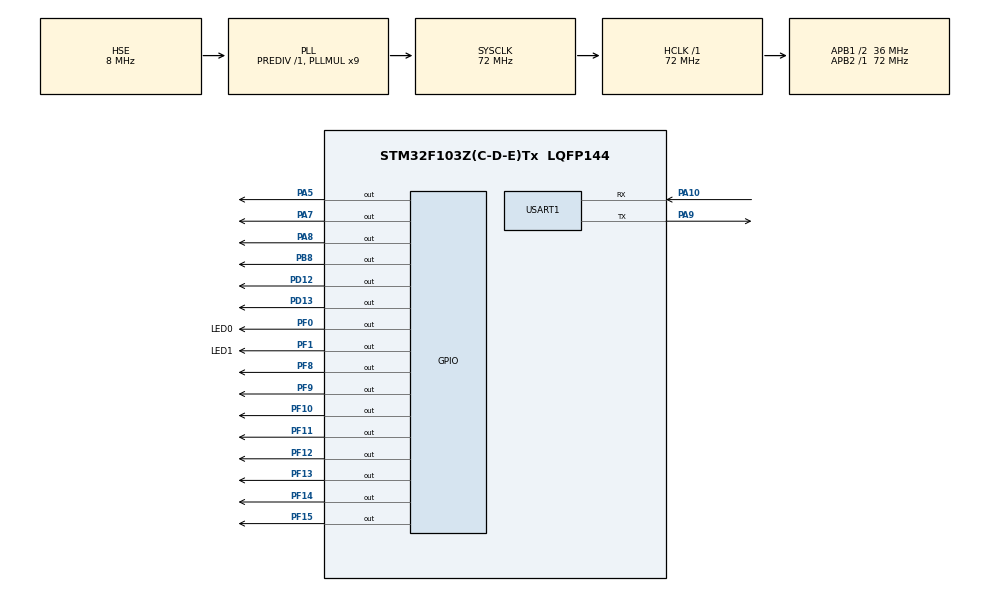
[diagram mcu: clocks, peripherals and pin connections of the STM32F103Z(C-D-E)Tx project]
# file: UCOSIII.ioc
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Mcu.Family=STM32F1
Mcu.Name=STM32F103Z(C-D-E)Tx
Mcu.Package=LQFP144
NVIC.PriorityGroup=NVIC_PRIORITYGROUP_4
NVIC.TIM1_UP_IRQn=true\:0\:0\:false\:false\:true\:false\:true\:true
NVIC.TimeBase=TIM1_UP_IRQn
NVIC.TimeBaseIP=TIM1
OSC_IN.Mode=HSE-External-Oscillator
OSC_IN.Signal=RCC_OSC_IN
OSC_OUT.Mode=HSE-External-Oscillator
OSC_OUT.Signal=RCC_OSC_OUT
PA10.Mode=Asynchronous
PA10.Signal=USART1_RX
PA13.Mode=Serial_Wire
PA13.Signal=SYS_JTMS-SWDIO
PA14.Mode=Serial_Wire
PA14.Signal=SYS_JTCK-SWCLK
PA5.Signal=GPIO_Output
PA7.Signal=GPIO_Output
PA8.Signal=GPIO_Output
PA9.Mode=Asynchronous
PA9.Signal=USART1_TX
PB8.Signal=GPIO_Output
PD12.Signal=GPIO_Output
PD13.Signal=GPIO_Output
PF0.GPIO_Label=LED0
PF0.Signal=GPIO_Output
PF1.GPIO_Label=LED1
PF1.Signal=GPIO_Output
PF10.PinState=GPIO_PIN_SET
PF10.Signal=GPIO_Output
PF11.PinState=GPIO_PIN_SET
PF11.Signal=GPIO_Output
PF12.PinState=GPIO_PIN_SET
PF12.Signal=GPIO_Output
PF13.PinState=GPIO_PIN_SET
PF13.Signal=GPIO_Output
PF14.PinState=GPIO_PIN_SET
PF14.Signal=GPIO_Output
PF15.PinState=GPIO_PIN_SET
PF15.Signal=GPIO_Output
PF8.PinState=GPIO_PIN_SET
PF8.Signal=GPIO_Output
PF9.PinState=GPIO_PIN_SET
PF9.Signal=GPIO_Output
ProjectManager.HeapSize=0x200
ProjectManager.StackSize=0x400
ProjectManager.TargetToolchain=MDK-ARM V5.27
RCC.AHBFreq_Value=72000000
RCC.APB1CLKDivider=RCC_HCLK_DIV2
RCC.APB1Freq_Value=36000000
RCC.APB1TimFreq_Value=72000000
RCC.APB2Freq_Value=72000000
RCC.APB2TimFreq_Value=72000000
RCC.HCLKFreq_Value=72000000
RCC.PLLMUL=RCC_PLL_MUL9
RCC.PLLSourceVirtual=RCC_PLLSOURCE_HSE
RCC.SYSCLKFreq_VALUE=72000000
RCC.SYSCLKSource=RCC_SYSCLKSOURCE_PLLCLK
RCC.USBFreq_Value=72000000
USART1.VirtualMode=VM_ASYNC
VP_SYS_VS_tim1.Mode=TIM1
board=custom

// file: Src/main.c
/* USER CODE BEGIN Header */
/**
  ******************************************************************************
  * @file           : main.c
  * @brief          : Main program body
  ******************************************************************************
  * @attention
  *
  * <h2><center>&copy; Copyright (c) 2021 STMicroelectronics.
  * All rights reserved.</center></h2>
  *
  * This software component is licensed by ST under BSD 3-Clause license,
  * the "License"; You may not use this file except in compliance with the
  * License. You may obtain a copy of the License at:
  *                        opensource.org/licenses/BSD-3-Clause
  *
  ******************************************************************************
  */
/* USER CODE END Header */

#include "main.h"
#include "usart.h"
#include "gpio.h"

/* USER CODE BEGIN Includes */
#include <includes.h>
/* USER CODE END Includes */

/* USER CODE BEGIN PTD */
/* UCOSIII中以下优先级用户程序不能使用:
 * 将这些优先级分配给了UCOSIII的5个系统内部任务
 * 优先级0：中断服务服务管理任务 OS_IntQTask()
 * 优先级1：时钟节拍任务 OS_TickTask()
 * 优先级2：定时任务 OS_TmrTask()
 * 优先级OS_CFG_PRIO_MAX-2：统计任务 OS_StatTask()
 * 优先级OS_CFG_PRIO_MAX-1：空闲任务 OS_IdleTask()
 */

/* 任务优先级 */
#define START_TASK_PRIO		3
#define LED0_TASK_PRIO		4
#define LED1_TASK_PRIO		5
#define PRINT_TASK_PRIO    6
#define LED_TASK_PRIO     7
#define Buzzer_TASK_PRIO     8
#define Motor_TASK_PRIO     8

/* 任务堆栈大小	*/
#define START_STK_SIZE 		512
#define LED0_STK_SIZE 		128
#define LED1_STK_SIZE 		128
#define PRINT_STK_SIZE      128
#define LED_STK_SIZE      128
#define Buzzer_STK_SIZE      128
#define Motor_STK_SIZE      128

/* 任务控制块 */
OS_TCB StartTaskTCB;
OS_TCB Led0TaskTCB;
OS_TCB Led1TaskTCB;
OS_TCB PrintTaskTCB;
OS_TCB LedplayTCB;
OS_TCB BuzzerTCB;
OS_TCB MotorTCB;

/* 任务堆栈 */
CPU_STK START_TASK_STK[START_STK_SIZE];
CPU_STK LED0_TASK_STK[LED0_STK_SIZE];
CPU_STK LED1_TASK_STK[LED1_STK_SIZE];
CPU_STK PRINT_TASK_STK[PRINT_STK_SIZE];
CPU_STK LED_TASK_STK[LED_STK_SIZE];
CPU_STK Buzzer_TASK_STK[LED_STK_SIZE];
CPU_STK Motor_TASK_STK[LED_STK_SIZE];

/* 任务函数定义 */
void start_task(void *p_arg);
void led0_task(void *p_arg);
void led1_task(void *p_arg);
void print_task(void *p_arg);
void led_play(void *p_arg);
void Buzzer(void *p_arg);
void Motor(void *p_arg);

/* USER CODE END PTD */

void SystemClock_Config(void);

int main(void)
{
  /* USER CODE BEGIN 1 */
    OS_ERR err;
	CPU_SR_ALLOC();
  /* USER CODE END 1 */

  /* MCU Configuration--------------------------------------------------------*/

  /* Reset of all peripherals, Initializes the Flash interface and the Systick. */
  HAL_Init();

  /* Configure the system clock */
  SystemClock_Config();

  /* Initialize all configured peripherals */
  MX_GPIO_Init();
  MX_USART1_UART_Init();
  /* USER CODE BEGIN 2 */
	OSInit(&err);		//初始化UCOSIII
    OS_CRITICAL_ENTER();//进入临界区
    //创建开始任务
    OSTaskCreate((OS_TCB 	* )&StartTaskTCB,			//任务控制块
                 (CPU_CHAR* )"start task", 				//任务名字
                 (OS_TASK_PTR)start_task, 				//任务函数
                 (void		* )0,						//传递给任务函数的参数
                 (OS_PRIO	  )START_TASK_PRIO,     //任务优先级
                 (CPU_STK * )&START_TASK_STK[0],	//任务堆栈基地址
                 (CPU_STK_SIZE)START_STK_SIZE/10,	//任务堆栈深度限位
                 (CPU_STK_SIZE)START_STK_SIZE,		//任务堆栈大小
                 (OS_MSG_QTY)0,						//任务内部消息队列能够接收的最大消息数目,为0时禁止接收消息
                 (OS_TICK	  )0,						//当使能时间片轮转时的时间片长度，为0时为默认长度，
                 (void   	* )0,						//用户补充的存储区
                 (OS_OPT    )OS_OPT_TASK_STK_CHK|OS_OPT_TASK_STK_CLR, //任务选项
                 (OS_ERR 	* )&err);				//存放该函数错误时的返回值
    OS_CRITICAL_EXIT();	//退出临界区

    OSStart(&err); //启动多任务系统，控制权交给uC/OS-III

  /* USER CODE END 2 */

  /* Infinite loop */
  while (1)
  {

  }
}

void SystemClock_Config(void)
{
  RCC_OscInitTypeDef RCC_OscInitStruct = {0};
  RCC_ClkInitTypeDef RCC_ClkInitStruct = {0};

  /** Initializes the CPU, AHB and APB busses clocks
  */
  RCC_OscInitStruct.OscillatorType = RCC_OSCILLATORTYPE_HSE;
  RCC_OscInitStruct.HSEState = RCC_HSE_ON;
  RCC_OscInitStruct.HSEPredivValue = RCC_HSE_PREDIV_DIV1;
  RCC_OscInitStruct.HSIState = RCC_HSI_ON;
  RCC_OscInitStruct.PLL.PLLState = RCC_PLL_ON;
  RCC_OscInitStruct.PLL.PLLSource = RCC_PLLSOURCE_HSE;
  RCC_OscInitStruct.PLL.PLLMUL = RCC_PLL_MUL9;
  if (HAL_RCC_OscConfig(&RCC_OscInitStruct) != HAL_OK)
  {
    Error_Handler();
  }
  /** Initializes the CPU, AHB and APB busses clocks
  */
  RCC_ClkInitStruct.ClockType = RCC_CLOCKTYPE_HCLK|RCC_CLOCKTYPE_SYSCLK
                              |RCC_CLOCKTYPE_PCLK1|RCC_CLOCKTYPE_PCLK2;
  RCC_ClkInitStruct.SYSCLKSource = RCC_SYSCLKSOURCE_PLLCLK;
  RCC_ClkInitStruct.AHBCLKDivider = RCC_SYSCLK_DIV1;
  RCC_ClkInitStruct.APB1CLKDivider = RCC_HCLK_DIV2;
  RCC_ClkInitStruct.APB2CLKDivider = RCC_HCLK_DIV1;

  if (HAL_RCC_ClockConfig(&RCC_ClkInitStruct, FLASH_LATENCY_2) != HAL_OK)
  {
    Error_Handler();
  }
}

/* USER CODE BEGIN 4 */
//开始任务函数
void start_task(void *p_arg)
{
	OS_ERR err;
	CPU_SR_ALLOC();
	p_arg = p_arg;

	BSP_Init();                                                   /* Initialize BSP functions */
    //CPU_Init();
    //Mem_Init();                                                 /* Initialize Memory Management Module */

#if OS_CFG_STAT_TASK_EN > 0u
   OSStatTaskCPUUsageInit(&err);  		//统计任务
#endif

#ifdef CPU_CFG_INT_DIS_MEAS_EN			//如果使能了测量中断关闭时间
    CPU_IntDisMeasMaxCurReset();
#endif

#if	OS_CFG_SCHED_ROUND_ROBIN_EN  		//当使用时间片轮转的时候
	 //使能时间片轮转调度功能,时间片长度为1个系统时钟节拍，既1*5=5ms
	OSSchedRoundRobinCfg(DEF_ENABLED,1,&err);
#endif

	OS_CRITICAL_ENTER();	//进入临界区
	/* 创建LED0任务 */
	OSTaskCreate((OS_TCB 	* )&Led0TaskTCB,
				 (CPU_CHAR	* )"led0 task",
                 (OS_TASK_PTR )led0_task,
                 (void		* )0,
                 (OS_PRIO	  )LED0_TASK_PRIO,
                 (CPU_STK   * )&LED0_TASK_STK[0],
                 (CPU_STK_SIZE)LED0_STK_SIZE/10,
                 (CPU_STK_SIZE)LED0_STK_SIZE,
                 (OS_MSG_QTY  )0,
                 (OS_TICK	  )0,
                 (void   	* )0,
                 (OS_OPT      )OS_OPT_TASK_STK_CHK|OS_OPT_TASK_STK_CLR,
                 (OS_ERR 	* )&err);

	/* 创建LED1任务 */
	OSTaskCreate((OS_TCB 	* )&Led1TaskTCB,
				 (CPU_CHAR	* )"led1 task",
                 (OS_TASK_PTR )led1_task,
                 (void		* )0,
                 (OS_PRIO	  )LED1_TASK_PRIO,
                 (CPU_STK   * )&LED1_TASK_STK[0],
                 (CPU_STK_SIZE)LED1_STK_SIZE/10,
                 (CPU_STK_SIZE)LED1_STK_SIZE,
                 (OS_MSG_QTY  )0,
                 (OS_TICK	  )0,
                 (void   	* )0,
                 (OS_OPT      )OS_OPT_TASK_STK_CHK|OS_OPT_TASK_STK_CLR,
                 (OS_ERR 	* )&err);

		/* 创建LED显示任务 */
	OSTaskCreate((OS_TCB 	* )&LedplayTCB,
				 (CPU_CHAR	* )"led play",
                 (OS_TASK_PTR )led_play,
                 (void		* )0,
                 (OS_PRIO	  )LED_TASK_PRIO,
                 (CPU_STK   * )&LED_TASK_STK[0],
                 (CPU_STK_SIZE)LED_STK_SIZE/10,
                 (CPU_STK_SIZE)LED_STK_SIZE,
                 (OS_MSG_QTY  )0,
                 (OS_TICK	  )0,
                 (void   	* )0,
                 (OS_OPT      )OS_OPT_TASK_STK_CHK|OS_OPT_TASK_STK_CLR,
                 (OS_ERR 	* )&err);
/* 创建浮点测试任务 */
	OSTaskCreate((OS_TCB 	* )&PrintTaskTCB,
				 (CPU_CHAR	* )"print task",
                 (OS_TASK_PTR )print_task,
                 (void		* )0,
                 (OS_PRIO	  )PRINT_TASK_PRIO,
                 (CPU_STK   * )&PRINT_TASK_STK[0],
                 (CPU_STK_SIZE)PRINT_STK_SIZE/10,
                 (CPU_STK_SIZE)PRINT_STK_SIZE,
                 (OS_MSG_QTY  )0,
                 (OS_TICK	  )0,
                 (void   	* )0,
                 (OS_OPT      )OS_OPT_TASK_STK_CHK|OS_OPT_TASK_STK_CLR,
                 (OS_ERR 	* )&err);

/* 创建电机任务 */
	OSTaskCreate((OS_TCB 	* )&MotorTCB,
				 (CPU_CHAR	* )"Motor",
                 (OS_TASK_PTR )Motor,
                 (void		* )0,
                 (OS_PRIO	  )Motor_TASK_PRIO,
                 (CPU_STK   * )&Motor_TASK_STK[0],
                 (CPU_STK_SIZE)Motor_STK_SIZE/10,
                 (CPU_STK_SIZE)Motor_STK_SIZE,
                 (OS_MSG_QTY  )0,
                 (OS_TICK	  )0,
                 (void   	* )0,
                 (OS_OPT      )OS_OPT_TASK_STK_CHK|OS_OPT_TASK_STK_CLR,
                 (OS_ERR 	* )&err);

		/* 创建蜂鸣器任务 */
	OSTaskCreate((OS_TCB 	* )&BuzzerTCB,
				 (CPU_CHAR	* )"Buzzer",
                 (OS_TASK_PTR )Buzzer,
                 (void		* )0,
                 (OS_PRIO	  )Buzzer_TASK_PRIO,
                 (CPU_STK   * )&Buzzer_TASK_STK[0],
                 (CPU_STK_SIZE)Buzzer_STK_SIZE/10,
                 (CPU_STK_SIZE)Buzzer_STK_SIZE,
                 (OS_MSG_QTY  )0,
                 (OS_TICK	  )0,
                 (void   	* )0,
                 (OS_OPT      )OS_OPT_TASK_STK_CHK|OS_OPT_TASK_STK_CLR,
                 (OS_ERR 	* )&err);

	OS_TaskSuspend((OS_TCB*)&StartTaskTCB,&err);		//挂起开始任务
	OS_CRITICAL_EXIT();	//进入临界区
}

/* led0任务函数 */
void led0_task(void *p_arg)
{
	OS_ERR err;
	p_arg = p_arg;

	while(1)
	{
		HAL_GPIO_WritePin(LED0_GPIO_Port, LED0_Pin, GPIO_PIN_SET);
		OSTimeDly(500, OS_OPT_TIME_DLY, &err);
		HAL_GPIO_WritePin(LED0_GPIO_Port, LED0_Pin, GPIO_PIN_RESET);
		OSTimeDly(500, OS_OPT_TIME_DLY, &err);
	}
}

/* led1任务函数 */
void led1_task(void *p_arg)
{
  OS_ERR err;
	p_arg = p_arg;

	while(1)
	{
		HAL_GPIO_WritePin(LED1_GPIO_Port, LED1_Pin, GPIO_PIN_SET);
		OSTimeDly(1000, OS_OPT_TIME_DLY, &err);
		HAL_GPIO_WritePin(LED1_GPIO_Port, LED1_Pin, GPIO_PIN_RESET);
		OSTimeDly(2000, OS_OPT_TIME_DLY, &err);
	}
}

/* 串口输出测试任务 */
void print_task(void *p_arg)
{
	uint32_t num = 0;
	OS_ERR err;
	p_arg = p_arg;
	CPU_SR_ALLOC();

	while(1)
	{
		num++;
		//OS_CRITICAL_ENTER();	//进入临界区
		printf("num = %d\r\n",num);
		//OS_CRITICAL_EXIT();		//退出临界区
		OSTimeDly(500, OS_OPT_TIME_DLY, &err);
	}
}

/* 数码管输出任务 */
void led_play(void *p_arg)
{
	unsigned char table[]={0x3f,0x06,0x5b,0x4f,0x66,0x6d,0x7d,0x07,0x7f,0x6f,0x77,0x7c,0x39,0x5e,0x79,0x71};
	unsigned char s[]={2,0,2,2,6,4,8,1};
	unsigned char i,n;
	OS_ERR err;
	p_arg = p_arg;
	CPU_SR_ALLOC();

	while(1)
	{
		for(n=8;n<16;n++)
		{
					 for(i=0;i<8;i++)
					{
						HAL_GPIO_WritePin(GPIOA,GPIO_PIN_7,(table[s[15-n]]>>(7-i))&0x01);
						HAL_GPIO_WritePin(GPIOA,GPIO_PIN_5,1);
						HAL_GPIO_WritePin(GPIOA,GPIO_PIN_5,0);
					}
					HAL_GPIO_WritePin(GPIOA,GPIO_PIN_8,1);
					HAL_GPIO_WritePin(GPIOA,GPIO_PIN_8,0);
			HAL_GPIO_WritePin(GPIOF,0x01<<n,0);
			OSTimeDly(1, OS_OPT_TIME_DLY, &err);
			HAL_GPIO_WritePin(GPIOF,0x01<<n,1);
		}
	}
}

/* 蜂鸣器鸣叫 */

void Buzzer(void *p_arg)
{
	unsigned int SONG_tone[]={441,441,495,441,589,556,441,441,495,441,661,589,441,441,882,742,589,556,495,786,786,742,589,661,589,0};
  unsigned int SONG_long[]={9,3,12,12,12,24,9,3,12,12,12,24,9,3,12,12,12,12,12,9,3,12,12,12,24,0};
	unsigned int i,j,k;
	OS_ERR err;
	p_arg = p_arg;
	CPU_SR_ALLOC();
	while(1)
	{
    for(i=0;i<25;i++)
		{
			uint32_t period_us = 1440000 / SONG_tone[i];
			uint32_t half_period_us = period_us / 2;
			uint32_t cycles = SONG_long[i] * 100000 / period_us;

			for (j = 0; j < cycles; j++)
			{
					HAL_GPIO_WritePin(GPIOB, GPIO_PIN_8, GPIO_PIN_SET);
					k=0;while(k<5*half_period_us)k++;
					HAL_GPIO_WritePin(GPIOB, GPIO_PIN_8, GPIO_PIN_RESET);
					k=0;while(k<5*half_period_us)k++;
			}
		}
	}
}

/* 电机转动 */
void Motor(void *p_arg)
{
		unsigned int i,j,k;
		OS_ERR err;
		p_arg = p_arg;
		CPU_SR_ALLOC();
		while(1)
		{
				HAL_GPIO_WritePin(GPIOD,GPIO_PIN_13,1);
				OSTimeDly(1, OS_OPT_TIME_DLY, &err);
		}

}

/* USER CODE END 4 */

void HAL_TIM_PeriodElapsedCallback(TIM_HandleTypeDef *htim)
{
  if (htim->Instance == TIM1) {
    HAL_IncTick();
  }
}

void Error_Handler(void)
{
}

/************************ (C) COPYRIGHT STMicroelectronics *****END OF FILE****/
